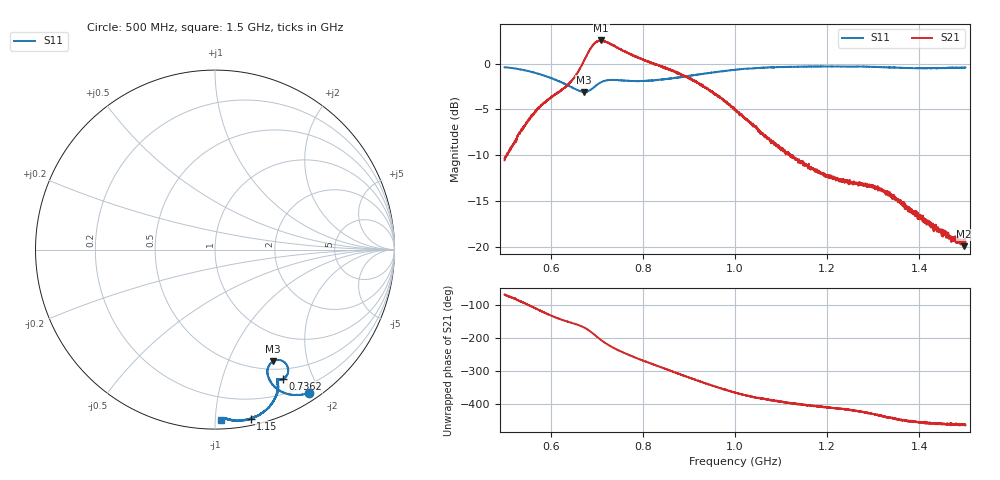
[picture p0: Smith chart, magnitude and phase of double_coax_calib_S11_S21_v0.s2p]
# HZ S RI R 50
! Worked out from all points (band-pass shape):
!   3201 points, 500 MHz to 1.5 GHz, reference 50 ohm
!   highest |S21| = 2.52 dB at 709.7 MHz (marker M1); lowest = -19.9 dB at 1.497 GHz (marker M2)
!   |S21| within 3 dB of the highest: 664 MHz to 844.7 MHz (180.7 MHz wide, 24 % of centre); 844.7015 MHz to 847.9994 MHz (3.298 MHz wide, 0.39 % of centre)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
!   lowest |S11| = -3.1 dB at 672.2 MHz (marker M3), VSWR 5.68, Z = 30.1 - j73.5 ohm
!   |S11| at or under -10 dB: nowhere
!   S12 and S22 are empty: the file has one direction only
!   S11 on the Smith chart (normalised r, x): 500 MHz: 0.10, -1.85; 736.2 MHz: 0.37, -1.59; 1.15 GHz: 0.05, -1.23; 1.5 GHz: 0.05, -1.04
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5e8  0.5258 -0.7966  0.1145 -0.2741  0 0  0 0
5.396875e8  0.4453 -0.8097  -0.00875 -0.4497  0 0  0 0
5.759375e8  0.3727 -0.7928  -0.2464 -0.5187  0 0  0 0
6.459375e8  0.2923 -0.6828  -0.7257 -0.3581  0 0  0 0
6.66875e8  0.3113 -0.633  -0.9376 -0.2719  0 0  0 0
6.721875e8  0.3222 -0.6219  -1.012 -0.2329  0 0  0 0
6.925e8  0.3873 -0.6285  -1.262 0.1492  0 0  0 0
7.096875e8  0.4072 -0.6791  -1.199 0.5905  0 0  0 0
7.225e8  0.3971 -0.7088  -1.023 0.8087  0 0  0 0
7.3625e8  0.3784 -0.7201  -0.823 0.9506  0 0  0 0
7.78125e8  0.3508 -0.7229  -0.2745 1.069  0 0  0 0
8.334375e8  0.3489 -0.7359  0.2602 0.9439  0 0  0 0
8.73125e8  0.3506 -0.7604  0.5229 0.7223  0 0  0 0
9.146875e8  0.3461 -0.7954  0.6669 0.4286  0 0  0 0
9.49375e8  0.3338 -0.8258  0.6799 0.2018  0 0  0 0
1e9  0.3041 -0.8726  0.5525 -0.0515  0 0  0 0
1.044062e9  0.27 -0.9029  0.4271 -0.1561  0 0  0 0
1.150312e9  0.1984 -0.9412  0.2109 -0.1919  0 0  0 0
1.166875e9  0.1876 -0.9451  0.1899 -0.1929  0 0  0 0
1.333438e9  0.0875 -0.9497  0.0329 -0.1914  0 0  0 0
1.497188e9  0.0355 -0.9475  -0.023 -0.0984  0 0  0 0
1.5e9  0.0348 -0.9486  -0.0273 -0.1028  0 0  0 0
